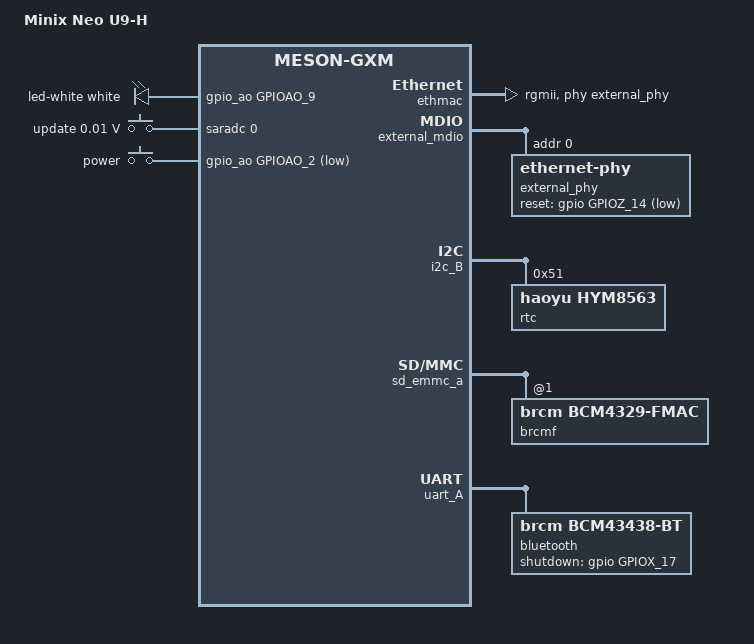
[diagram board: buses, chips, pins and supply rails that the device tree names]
// SPDX-License-Identifier: (GPL-2.0+ OR MIT)
/*
 * Copyright (c) Christian Hewitt <christianshewitt@gmail.com>
 */

/dts-v1/;

#include "meson-gxm.dtsi"
#include "meson-gx-p23x-q20x.dtsi"
#include <dt-bindings/input/input.h>
#include <dt-bindings/leds/common.h>

/ {
	compatible = "minix,neo-u9h", "amlogic,s912", "amlogic,meson-gxm";
	model = "Minix Neo U9-H";

	leds {
		compatible = "gpio-leds";

		led-white {
			color = <LED_COLOR_ID_WHITE>;
			function = LED_FUNCTION_POWER;
			gpios = <&gpio_ao GPIOAO_9 GPIO_ACTIVE_HIGH>;
			default-state = "on";
			panic-indicator;
		};
	};

	adc-keys {
		compatible = "adc-keys";
		io-channels = <&saradc 0>;
		io-channel-names = "buttons";
		keyup-threshold-microvolt = <1710000>;

		button-function {
			label = "update";
			linux,code = <KEY_VENDOR>;
			press-threshold-microvolt = <10000>;
		};
	};

	gpio-keys-polled {
		compatible = "gpio-keys-polled";
		poll-interval = <100>;

		button {
			label = "power";
			linux,code = <KEY_POWER>;
			gpios = <&gpio_ao GPIOAO_2 GPIO_ACTIVE_LOW>;
		};
	};
};

&ethmac {
	pinctrl-0 = <&eth_pins>;
	pinctrl-names = "default";
	phy-handle = <&external_phy>;
	amlogic,tx-delay-ns = <2>;
	phy-mode = "rgmii";
};

&external_mdio {
	external_phy: ethernet-phy@0 {
		/* Realtek RTL8211F (0x001cc916) */
		reg = <0>;
		max-speed = <1000>;

		reset-assert-us = <10000>;
		reset-deassert-us = <80000>;
		reset-gpios = <&gpio GPIOZ_14 GPIO_ACTIVE_LOW>;

		interrupt-parent = <&gpio_intc>;
		/* MAC_INTR on GPIOZ_15 */
		interrupts = <25 IRQ_TYPE_LEVEL_LOW>;
	};
};

&ir {
	linux,rc-map-name = "rc-minix-neo";
};

&i2c_B {
	status = "okay";
	pinctrl-0 = <&i2c_b_pins>;
	pinctrl-names = "default";

	rtc: rtc@51 {
		status = "okay";
		compatible = "haoyu,hym8563";
		reg = <0x51>;
		#clock-cells = <0>;
		clock-output-names = "xin32k";
		wakeup-source;
	};
};

&sd_emmc_a {
	brcmf: wifi@1 {
		reg = <1>;
		compatible = "brcm,bcm4329-fmac";
	};
};

&uart_A {
	status = "okay";
	pinctrl-0 = <&uart_a_pins>, <&uart_a_cts_rts_pins>;
	pinctrl-names = "default";
	uart-has-rtscts;

	bluetooth {
		compatible = "brcm,bcm43438-bt";
		shutdown-gpios = <&gpio GPIOX_17 GPIO_ACTIVE_HIGH>;
		max-speed = <2000000>;
		clocks = <&wifi32k>;
		clock-names = "lpo";
	};
};
